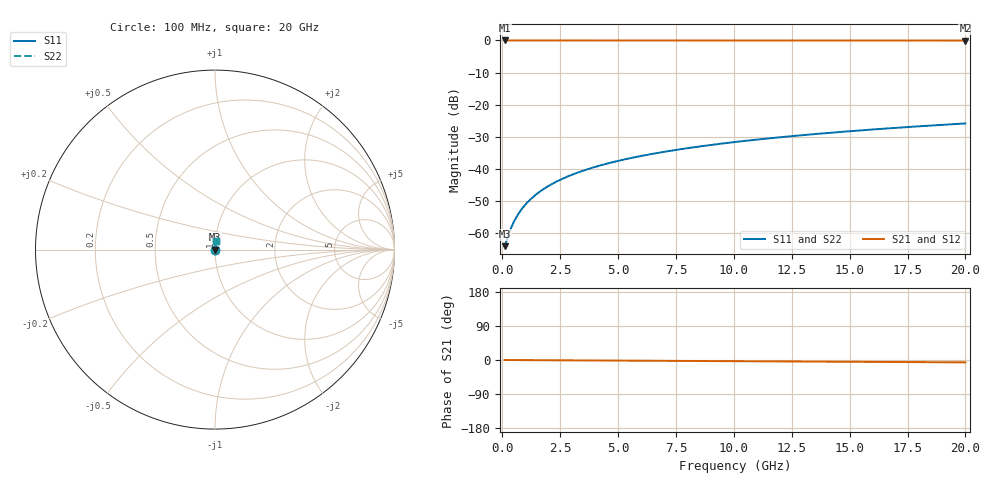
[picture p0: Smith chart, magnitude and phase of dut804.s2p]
! Touchstone file exported from HFSS 2026.1.0
!  File:  C:/ffzhzh/LocalFiles/Ansys_Project_Files/temp_train_TSV_804_1783184122_55132.aedt
!  Generated:  12:57:06 AM Jul  5, 2026
!  Design:  TSV
!  Project:  temp_train_TSV_804_1783184122_55132
! Variables:
!  h_bsmrdl = 2um
!  h_ox = 20um
!  h_rdl = 5um
!  h_sub = 53.27um
!  h_tmrdl = 5um
!  h_tsv = 53.27um
!  h_via = 3um
!  l_bsmrdl = 300um
!  l_sub = 406.84um
!  l_tmrdl = 200um
!  m_sub = 200um
!  pitch = 29.25um
!  r_tsv = 3.42um
!  s_tmrdl = 10um
!  w_bsmrdl = 18um
!  w_sub = 500um
!  w_tmrdl = 12um
!  x_tsv_center1 = 206um
!  x_tsv_center2 = 524um
!  x_tsv_center3 = 736um
!  x_tsv_center4 = 1054um
!  x_tsv_center5 = 1266um
!  x_tsv_center6 = 1584um
# GHz S MA R 50.000000
! Terminal data exported
! Port[1] = TSV1_1_T1
! Port[2] = TSV1_1_T2
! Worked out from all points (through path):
!   200 points, 100 MHz to 20 GHz, reference 50 ohm
!   highest |S21| = 0.00 dB at 100 MHz (marker M1); lowest = 0.0 dB at 20 GHz (marker M2)
!   lowest |S11| = -64.1 dB at 100 MHz (marker M3), VSWR 1.00, Z = 50.1 + j0.0283 ohm
!   |S11| at or under -10 dB: start of sweep to end of sweep
!   |S22| runs from -64.1 to -25.9 dB; largest |S21 - S12| = 2.1e-15
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0.1  0.0006243 26.9  0.9994 -0.0  0.9994 -0.0  0.0006243 26.9
! Gamma 0 0 0 0
! Port Impedance 50 0 50 0
0.3  0.001014 55.3  0.9994 -0.1  0.9994 -0.1  0.001014 55.3
0.4  0.001249 62.0  0.9994 -0.1  0.9994 -0.1  0.001249 62.0
0.5  0.001495 66.5  0.9994 -0.2  0.9994 -0.2  0.001495 66.5
0.6  0.001745 69.7  0.9994 -0.2  0.9994 -0.2  0.001745 69.7
0.7  0.002 72.2  0.9994 -0.2  0.9994 -0.2  0.002 72.2
0.9  0.002517 75.6  0.9994 -0.3  0.9994 -0.3  0.002517 75.6
1.2  0.003302 78.6  0.9994 -0.4  0.9994 -0.4  0.003302 78.6
1.4  0.00383 79.9  0.9994 -0.4  0.9994 -0.4  0.00383 79.9
1.7  0.004624 81.3  0.9993 -0.5  0.9993 -0.5  0.004624 81.3
2.2  0.00595 82.6  0.9993 -0.7  0.9993 -0.7  0.00595 82.6
2.8  0.007538 83.5  0.9992 -0.9  0.9992 -0.9  0.007538 83.5
3.5  0.009384 84.0  0.9992 -1.1  0.9992 -1.1  0.009384 84.0
4.2  0.01122 84.2  0.9991 -1.3  0.9991 -1.3  0.01122 84.2
5  0.0133 84.3  0.999 -1.6  0.999 -1.6  0.0133 84.3
5.9  0.01562 84.3  0.9988 -1.9  0.9988 -1.9  0.01562 84.2
6.8  0.01793 84.2  0.9987 -2.2  0.9987 -2.2  0.01793 84.2
8.3  0.02175 83.9  0.9985 -2.6  0.9985 -2.6  0.02175 83.9
10.1  0.02629 83.6  0.9982 -3.2  0.9982 -3.2  0.02629 83.6
13.4  0.03455 83.0  0.9977 -4.2  0.9977 -4.2  0.03455 83.0
16.7  0.04277 82.2  0.9972 -5.2  0.9972 -5.2  0.04277 82.2
20  0.05094 81.4  0.9966 -6.2  0.9966 -6.2  0.05094 81.4
